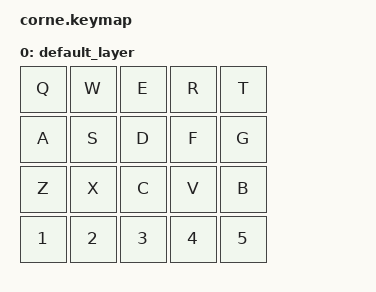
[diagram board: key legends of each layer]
#include <behaviors.dtsi>
#include <dt-bindings/zmk/keys.h>

/ {
    chosen {
        zmk,kscan = &kscan0;
        zmk,matrix_transform = &default_transform;
    };

    keymap {
        compatible = "zmk,keymap";

        default_layer {
            bindings = <
                &kp Q  &kp W  &kp E  &kp R  &kp T
                &kp A  &kp S  &kp D  &kp F  &kp G
                &kp Z  &kp X  &kp C  &kp V  &kp B
                &kp N1 &kp N2 &kp N3 &kp N4 &kp N5
            >;
        };
    };
};
